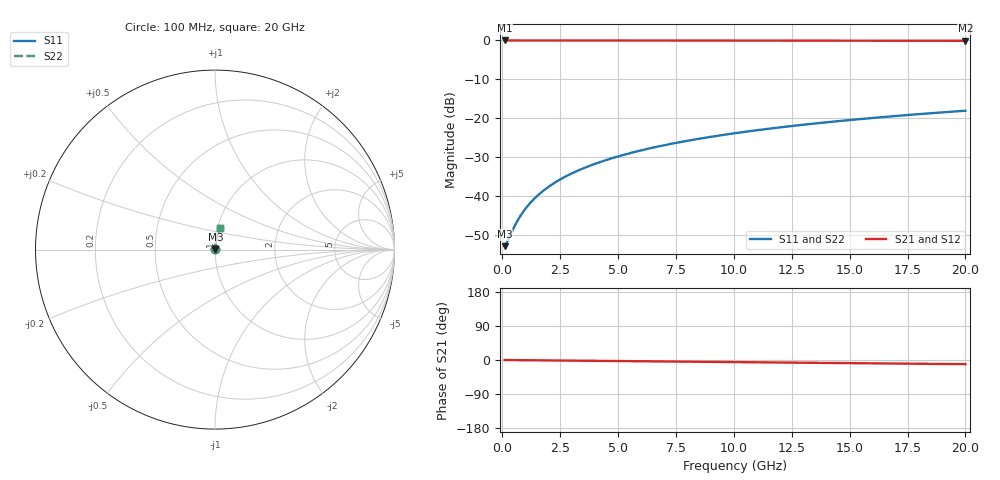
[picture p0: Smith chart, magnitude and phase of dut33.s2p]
! Touchstone file exported from HFSS 2026.1.0
!  File:  C:/ffzhzh/LocalFiles/Ansys_Project_Files/temp_train_TSV_33_1782958414_45568.aedt
!  Generated:  10:16:06 AM Jul  2, 2026
!  Design:  TSV
!  Project:  temp_train_TSV_33_1782958414_45568
! Variables:
!  h_bsmrdl = 2um
!  h_ox = 20um
!  h_rdl = 5um
!  h_sub = 84.45um
!  h_tmrdl = 5um
!  h_tsv = 84.45um
!  h_via = 3um
!  l_bsmrdl = 300um
!  l_sub = 404.24um
!  l_tmrdl = 200um
!  m_sub = 200um
!  pitch = 34.78um
!  r_tsv = 2.12um
!  s_tmrdl = 10um
!  w_bsmrdl = 18um
!  w_sub = 500um
!  w_tmrdl = 12um
!  x_tsv_center1 = 206um
!  x_tsv_center2 = 524um
!  x_tsv_center3 = 736um
!  x_tsv_center4 = 1054um
!  x_tsv_center5 = 1266um
!  x_tsv_center6 = 1584um
# GHz S MA R 50.000000
! Terminal data exported
! Port[1] = TSV1_1_T1
! Port[2] = TSV1_1_T2
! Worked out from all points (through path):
!   200 points, 100 MHz to 20 GHz, reference 50 ohm
!   highest |S21| = -0.02 dB at 100 MHz (marker M1); lowest = -0.1 dB at 20 GHz (marker M2)
!   group delay of S21, straight-line fit = 1.53 ps
!   lowest |S11| = -53.0 dB at 100 MHz (marker M3), VSWR 1.00, Z = 50.2 + j0.0651 ohm
!   |S11| at or under -10 dB: start of sweep to end of sweep
!   |S22| runs from -53.0 to -18.1 dB; largest |S21 - S12| = 5.2e-15
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0.1  0.002247 16.8  0.9978 -0.1  0.9978 -0.1  0.002247 16.8
! Gamma 0 0 0 0
! Port Impedance 50 0 50 0
0.2  0.002515 31.0  0.9978 -0.1  0.9978 -0.1  0.002515 31.0
0.5  0.0039 55.9  0.9978 -0.3  0.9978 -0.3  0.0039 55.9
0.6  0.004453 60.4  0.9978 -0.3  0.9978 -0.3  0.004453 60.4
0.8  0.005615 66.6  0.9978 -0.5  0.9978 -0.5  0.005615 66.6
0.9  0.006214 68.8  0.9978 -0.5  0.9978 -0.5  0.006214 68.8
1.1  0.007431 72.1  0.9978 -0.6  0.9978 -0.6  0.007431 72.1
1.4  0.009289 75.4  0.9977 -0.8  0.9977 -0.8  0.009289 75.4
1.8  0.0118 78.0  0.9977 -1.0  0.9977 -1.0  0.0118 78.0
2.3  0.01496 80.0  0.9976 -1.3  0.9976 -1.3  0.01496 80.0
2.9  0.01877 81.3  0.9975 -1.6  0.9975 -1.6  0.01877 81.3
3.5  0.02258 82.1  0.9974 -2.0  0.9974 -2.0  0.02258 82.1
4.2  0.02703 82.5  0.9972 -2.4  0.9972 -2.4  0.02703 82.5
5  0.03212 82.7  0.997 -2.8  0.997 -2.8  0.03212 82.7
5.9  0.03783 82.8  0.9967 -3.3  0.9967 -3.3  0.03783 82.8
6.8  0.04352 82.6  0.9963 -3.8  0.9963 -3.8  0.04352 82.6
8.3  0.05297 82.2  0.9957 -4.6  0.9957 -4.6  0.05297 82.2
10.1  0.06422 81.5  0.9948 -5.6  0.9948 -5.6  0.06422 81.5
11.7  0.07415 80.8  0.9938 -6.5  0.9938 -6.5  0.07415 80.8
13.4  0.08461 80.0  0.9927 -7.4  0.9927 -7.4  0.08461 80.0
16.7  0.1047 78.4  0.9903 -9.2  0.9903 -9.2  0.1047 78.4
20  0.1244 76.8  0.9875 -11.0  0.9875 -11.0  0.1244 76.8
